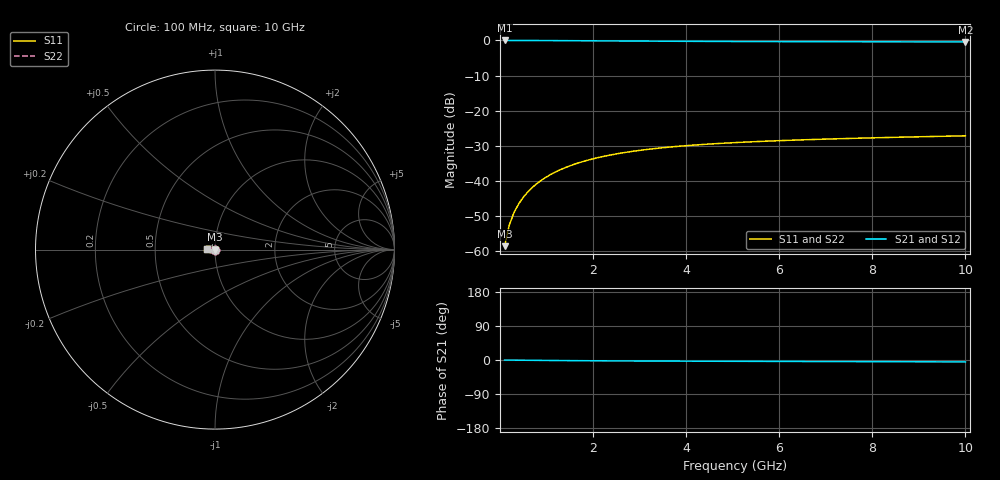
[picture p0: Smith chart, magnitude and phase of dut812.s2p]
! Touchstone file exported from HFSS 2024.1.0
!  File:  C:/UserFiles/LocalFiles/RDL_TSV_Batchsim/temp_TSV1_812_1779877429.aedt
!  Generated:  06:28:26 PM May 27, 2026
!  Design:  TSV1
!  Project:  temp_TSV1_812_1779877429
!  Setup:  Setup1
!  Solution:  Sweep
! Variables:
!  dtsv = 10.39um
!  hbump = 3um
!  htsv = 76.67um
!  lrdl = 252.1521522um
!  p = 40
!  p1 = 53.39um
!  t = 500um
!  trdl = 3um
!  wrdl = 24.89489489um
# GHz S MA R 50.000000
! Terminal data exported
! Port[1] = TSV22_T1
! Port[2] = TSV22_T2
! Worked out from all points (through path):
!   100 points, 100 MHz to 10 GHz, reference 50 ohm
!   highest |S21| = 0.00 dB at 100 MHz (marker M1); lowest = -0.4 dB at 10 GHz (marker M2)
!   lowest |S11| = -58.5 dB at 100 MHz (marker M3), VSWR 1.00, Z = 50 - j0.119 ohm
!   |S11| at or under -10 dB: start of sweep to end of sweep
!   |S22| runs from -58.5 to -27.1 dB; largest |S21 - S12| = 7.3e-15
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0.1  0.001189 -85.6  0.9998 -0.1  0.9998 -0.1  0.001189 -85.6
! Gamma 0 0 0 0
! Port Impedance 50 0 50 0
0.2  0.002369 -90.5  0.9997 -0.2  0.9997 -0.2  0.002369 -90.5
0.3  0.003549 -93.4  0.9995 -0.4  0.9995 -0.4  0.003549 -93.4
0.4  0.004724 -95.8  0.9992 -0.5  0.9992 -0.5  0.004724 -95.8
0.5  0.00589 -98.0  0.9988 -0.6  0.9988 -0.6  0.00589 -98.0
0.6  0.007044 -100.1  0.9984 -0.7  0.9984 -0.7  0.007044 -100.1
0.7  0.008181 -102.1  0.9979 -0.8  0.9979 -0.8  0.008181 -102.1
0.8  0.0093 -104.1  0.9973 -0.9  0.9973 -0.9  0.0093 -104.1
0.9  0.0104 -106.0  0.9967 -1.1  0.9967 -1.1  0.0104 -106.0
1.1  0.01253 -109.8  0.9954 -1.3  0.9954 -1.3  0.01253 -109.8
1.4  0.01552 -115.1  0.993 -1.6  0.993 -1.6  0.01552 -115.1
1.6  0.01738 -118.5  0.9913 -1.7  0.9913 -1.7  0.01738 -118.5
1.8  0.01913 -121.7  0.9896 -1.9  0.9896 -1.9  0.01913 -121.7
2.1  0.02153 -126.3  0.9869 -2.1  0.9869 -2.1  0.02153 -126.3
2.5  0.02436 -132.0  0.9834 -2.4  0.9834 -2.4  0.02436 -132.0
2.9  0.0268 -137.1  0.98 -2.6  0.98 -2.6  0.0268 -137.1
3.4  0.02938 -143.0  0.9762 -2.8  0.9762 -2.8  0.02938 -143.0
4.2  0.03264 -151.1  0.971 -3.2  0.971 -3.2  0.03264 -151.1
5.1  0.03543 -158.7  0.9664 -3.5  0.9664 -3.5  0.03543 -158.7
6.7  0.03901 -169.8  0.9606 -4.0  0.9606 -4.0  0.03902 -169.8
8.4  0.04184 -179.2  0.9566 -4.5  0.9566 -4.5  0.04184 -179.2
10  0.04407 173.4  0.9541 -5.0  0.9541 -5.0  0.04407 173.4
